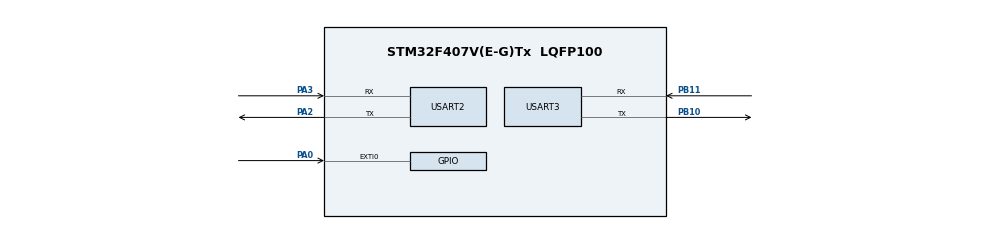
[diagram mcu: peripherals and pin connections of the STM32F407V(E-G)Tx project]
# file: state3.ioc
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Mcu.Family=STM32F4
Mcu.Name=STM32F407V(E-G)Tx
Mcu.Package=LQFP100
NVIC.EXTI0_IRQn=true\:0\:0\:false\:false\:true\:true\:true\:true
NVIC.PriorityGroup=NVIC_PRIORITYGROUP_4
NVIC.USART2_IRQn=true\:0\:0\:false\:false\:true\:true\:true\:true
NVIC.USART3_IRQn=true\:0\:0\:false\:false\:true\:true\:true\:true
PA0-WKUP.Signal=GPXTI0
PA2.Mode=Asynchronous
PA2.Signal=USART2_TX
PA3.Mode=Asynchronous
PA3.Signal=USART2_RX
PB10.Mode=Asynchronous
PB10.Signal=USART3_TX
PB11.Mode=Asynchronous
PB11.Signal=USART3_RX
PH0-OSC_IN.Mode=HSE-External-Oscillator
PH0-OSC_IN.Signal=RCC_OSC_IN
PH1-OSC_OUT.Mode=HSE-External-Oscillator
PH1-OSC_OUT.Signal=RCC_OSC_OUT
ProjectManager.HeapSize=0x200
ProjectManager.StackSize=0x400
ProjectManager.TargetToolchain=STM32CubeIDE
RCC.48MHZClocksFreq_Value=25000000
RCC.AHBFreq_Value=50000000
RCC.APB1CLKDivider=RCC_HCLK_DIV2
RCC.APB1Freq_Value=25000000
RCC.APB1TimFreq_Value=50000000
RCC.APB2Freq_Value=50000000
RCC.APB2TimFreq_Value=50000000
RCC.CortexFreq_Value=50000000
RCC.HCLKFreq_Value=50000000
RCC.HSE_VALUE=8000000
RCC.HSI_VALUE=16000000
RCC.LSE_VALUE=32768
RCC.PLLM=4
RCC.PLLN=50
RCC.PLLSourceVirtual=RCC_PLLSOURCE_HSE
RCC.SYSCLKFreq_VALUE=50000000
RCC.SYSCLKSource=RCC_SYSCLKSOURCE_PLLCLK
RCC.VCOOutputFreq_Value=100000000
USART2.VirtualMode=VM_ASYNC
USART3.VirtualMode=VM_ASYNC
board=custom

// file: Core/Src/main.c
	/* USER CODE BEGIN Header */
	/**
	  ******************************************************************************
	  * @file           : main.c
	  * @brief          : Main program body
	  ******************************************************************************
	  */
	/* USER CODE END Header */

	#include "main.h"
	#include <string.h>

	UART_HandleTypeDef huart2;
	UART_HandleTypeDef huart3;

	/* USER CODE BEGIN PV */
	uint8_t redData[8];
	uint8_t greenData[8];
	uint8_t rxBuffer[8];
	uint8_t ackBuf[1];

	uint8_t ACK = 0xAC;
	uint8_t waiting_for_ack = 1;
	uint8_t current_state = 1; // 1=RED, 2=RED_WAIT, 3=GREEN, 4=GREEN_WAIT

	uint32_t last_send_time = 0;
	uint32_t action_start_time = 0;

	const uint32_t resend_interval = 5; // ms
	/* USER CODE END PV */

	/* USER CODE BEGIN PFP */
	void SystemClock_Config(void);
	static void MX_GPIO_Init(void);
	static void MX_USART2_UART_Init(void);
	static void MX_USART3_UART_Init(void);
	uint16_t ModRTw_CRC(uint8_t *buf, int len);
	/* USER CODE END PFP */

	int main(void)
	{
	  /* USER CODE BEGIN 1 */
	  HAL_Init();
	  SystemClock_Config();
	  MX_GPIO_Init();
	  MX_USART2_UART_Init();
	  MX_USART3_UART_Init();

	  redData[0] = 0x01; redData[1] = 0x02; redData[2] = 0x03;
	  redData[3] = 0x04; redData[4] = 0x05; redData[5] = 0x06;
	  uint16_t crc_red = ModRTw_CRC(redData, 6);
	  redData[6] = crc_red & 0xFF;
	  redData[7] = (crc_red >> 8) & 0xFF;

	  greenData[0] = 0x06; greenData[1] = 0x05; greenData[2] = 0x04;
	  greenData[3] = 0x03; greenData[4] = 0x02; greenData[5] = 0x01;
	  uint16_t crc_green = ModRTw_CRC(greenData, 6);
	  greenData[6] = crc_green & 0xFF;
	  greenData[7] = (crc_green >> 8) & 0xFF;

	  /* USER CODE END 1 */

	  /* USER CODE BEGIN 2 */
	  while (1)
	  {
			HAL_UART_Receive_IT(&huart2, ackBuf, 1);

		uint32_t now = HAL_GetTick();
		switch (current_state)
		{
			case 1:
				if (!waiting_for_ack)
				{
					HAL_GPIO_WritePin(GPIOD, GPIO_PIN_14, GPIO_PIN_SET);
					current_state = 2;
					action_start_time = now;
				}
				else if (now - last_send_time >= resend_interval)
				{
					HAL_UART_Transmit(&huart2, redData, 8, 10);
						HAL_UART_Receive_IT(&huart2, ackBuf, 1);

					last_send_time = now;
				}
				break;

			case 2:
				if (now - action_start_time >= 10000)
				{
					HAL_GPIO_WritePin(GPIOD, GPIO_PIN_14, GPIO_PIN_RESET);
					waiting_for_ack = 1;
					current_state = 3;
					last_send_time = 0;
				}
				break;

			case 3:
				if (!waiting_for_ack)
				{
					HAL_GPIO_WritePin(GPIOD, GPIO_PIN_12, GPIO_PIN_SET);
					current_state = 4;
					action_start_time = now;
				}
				else if (now - last_send_time >= resend_interval)
				{
					HAL_UART_Transmit(&huart2, greenData, 8, 10);
					HAL_UART_Receive_IT(&huart2, ackBuf, 1);
					last_send_time = now;
				}
				break;

			case 4:
				if (now - action_start_time >= 6000)
				{
					HAL_GPIO_WritePin(GPIOD, GPIO_PIN_12, GPIO_PIN_RESET);
					waiting_for_ack = 1;
					current_state = 1;
					last_send_time = 0;
				}
				break;
		}
	  }
	  /* USER CODE END 2 */
	}

	/* USER CODE BEGIN 4 */
	uint16_t ModRTw_CRC(uint8_t *buf, int len)
	{
		uint16_t crc = 0xFFFF;
		for (int pos = 0; pos < len; pos++) {
			crc ^= (uint16_t)buf[pos];
			for (int i = 0; i < 8; i++) {
				if ((crc & 0x0001) != 0) {
					crc >>= 1;
					crc ^= 0xA001;
				} else {
					crc >>= 1;
				}
			}
		}
		return crc;
	}

	void HAL_UART_RxCpltCallback(UART_HandleTypeDef *huart)
	{
		if (huart->Instance == USART2)
		{
	if(ACK==ackBuf[0]){
			waiting_for_ack = 0;
	}

	if(ackBuf[0]==0x00){
		HAL_GPIO_WritePin(GPIOD, GPIO_PIN_12, GPIO_PIN_RESET);
		HAL_GPIO_WritePin(GPIOD, GPIO_PIN_14, GPIO_PIN_RESET);
		waiting_for_ack=0;
		current_state=1;
		HAL_UART_Transmit_IT(&huart2, redData,8);
	}
	if(ackBuf[0]==0x01)
	{
		HAL_GPIO_WritePin(GPIOD, GPIO_PIN_12, GPIO_PIN_RESET);
				HAL_GPIO_WritePin(GPIOD, GPIO_PIN_14, GPIO_PIN_RESET);
		waiting_for_ack=0;
		current_state=3;
		HAL_UART_Transmit_IT(&huart2, greenData, 8);
	}
		}

	}

	void HAL_GPIO_EXTI_Callback(uint16_t GPIO_Pin)
	{
	  if (GPIO_Pin == GPIO_PIN_0)
	  {
		HAL_GPIO_WritePin(GPIOD, GPIO_PIN_12 | GPIO_PIN_14, GPIO_PIN_RESET);
		current_state = 1;
		waiting_for_ack = 1;
		last_send_time = 0;
	  }
	}

	void SystemClock_Config(void)
	{
	  RCC_OscInitTypeDef RCC_OscInitStruct = {0};
	  RCC_ClkInitTypeDef RCC_ClkInitStruct = {0};

	  __HAL_RCC_PWR_CLK_ENABLE();
	  __HAL_PWR_VOLTAGESCALING_CONFIG(PWR_REGULATOR_VOLTAGE_SCALE1);

	  RCC_OscInitStruct.OscillatorType = RCC_OSCILLATORTYPE_HSE;
	  RCC_OscInitStruct.HSEState = RCC_HSE_ON;
	  RCC_OscInitStruct.PLL.PLLState = RCC_PLL_ON;
	  RCC_OscInitStruct.PLL.PLLSource = RCC_PLLSOURCE_HSE;
	  RCC_OscInitStruct.PLL.PLLM = 4;
	  RCC_OscInitStruct.PLL.PLLN = 50;
	  RCC_OscInitStruct.PLL.PLLP = RCC_PLLP_DIV2;
	  RCC_OscInitStruct.PLL.PLLQ = 4;
	  if (HAL_RCC_OscConfig(&RCC_OscInitStruct) != HAL_OK) Error_Handler();

	  RCC_ClkInitStruct.ClockType = RCC_CLOCKTYPE_HCLK|RCC_CLOCKTYPE_SYSCLK|
									RCC_CLOCKTYPE_PCLK1|RCC_CLOCKTYPE_PCLK2;
	  RCC_ClkInitStruct.SYSCLKSource = RCC_SYSCLKSOURCE_PLLCLK;
	  RCC_ClkInitStruct.AHBCLKDivider = RCC_SYSCLK_DIV1;
	  RCC_ClkInitStruct.APB1CLKDivider = RCC_HCLK_DIV2;
	  RCC_ClkInitStruct.APB2CLKDivider = RCC_HCLK_DIV1;

	  if (HAL_RCC_ClockConfig(&RCC_ClkInitStruct, FLASH_LATENCY_1) != HAL_OK) Error_Handler();
	}

	static void MX_GPIO_Init(void)
	{
	  __HAL_RCC_GPIOD_CLK_ENABLE();
	  __HAL_RCC_GPIOA_CLK_ENABLE();

	  GPIO_InitTypeDef GPIO_InitStruct = {0};

	  GPIO_InitStruct.Pin = GPIO_PIN_12 | GPIO_PIN_14;
	  GPIO_InitStruct.Mode = GPIO_MODE_OUTPUT_PP;
	  GPIO_InitStruct.Pull = GPIO_NOPULL;
	  GPIO_InitStruct.Speed = GPIO_SPEED_FREQ_LOW;
	  HAL_GPIO_Init(GPIOD, &GPIO_InitStruct);

	  GPIO_InitStruct.Pin = GPIO_PIN_0;
	  GPIO_InitStruct.Mode = GPIO_MODE_IT_RISING;
	  GPIO_InitStruct.Pull = GPIO_NOPULL;
	  HAL_GPIO_Init(GPIOA, &GPIO_InitStruct);

	  HAL_NVIC_SetPriority(EXTI0_IRQn, 0, 0);
	  HAL_NVIC_EnableIRQ(EXTI0_IRQn);
	}

	static void MX_USART2_UART_Init(void)
	{
	  huart2.Instance = USART2;
	  huart2.Init.BaudRate = 115200;
	  huart2.Init.WordLength = UART_WORDLENGTH_8B;
	  huart2.Init.StopBits = UART_STOPBITS_1;
	  huart2.Init.Parity = UART_PARITY_NONE;
	  huart2.Init.Mode = UART_MODE_TX_RX;
	  huart2.Init.HwFlowCtl = UART_HWCONTROL_NONE;
	  huart2.Init.OverSampling = UART_OVERSAMPLING_16;
	  if (HAL_UART_Init(&huart2) != HAL_OK) Error_Handler();
	}

	static void MX_USART3_UART_Init(void)
	{
	  huart3.Instance = USART3;
	  huart3.Init.BaudRate = 115200;
	  huart3.Init.WordLength = UART_WORDLENGTH_8B;
	  huart3.Init.StopBits = UART_STOPBITS_1;
	  huart3.Init.Parity = UART_PARITY_NONE;
	  huart3.Init.Mode = UART_MODE_TX_RX;
	  huart3.Init.HwFlowCtl = UART_HWCONTROL_NONE;
	  huart3.Init.OverSampling = UART_OVERSAMPLING_16;
	  if (HAL_UART_Init(&huart3) != HAL_OK) Error_Handler();
	}

	void Error_Handler(void)
	{
	  __disable_irq();
	  while (1) {}
	}

	#ifdef USE_FULL_ASSERT
	void assert_failed(uint8_t *file, uint32_t line)
	{
	  // printf("Wrong parameters value: file %s on line %ld\r\n", file, line);
	}
	#endif
